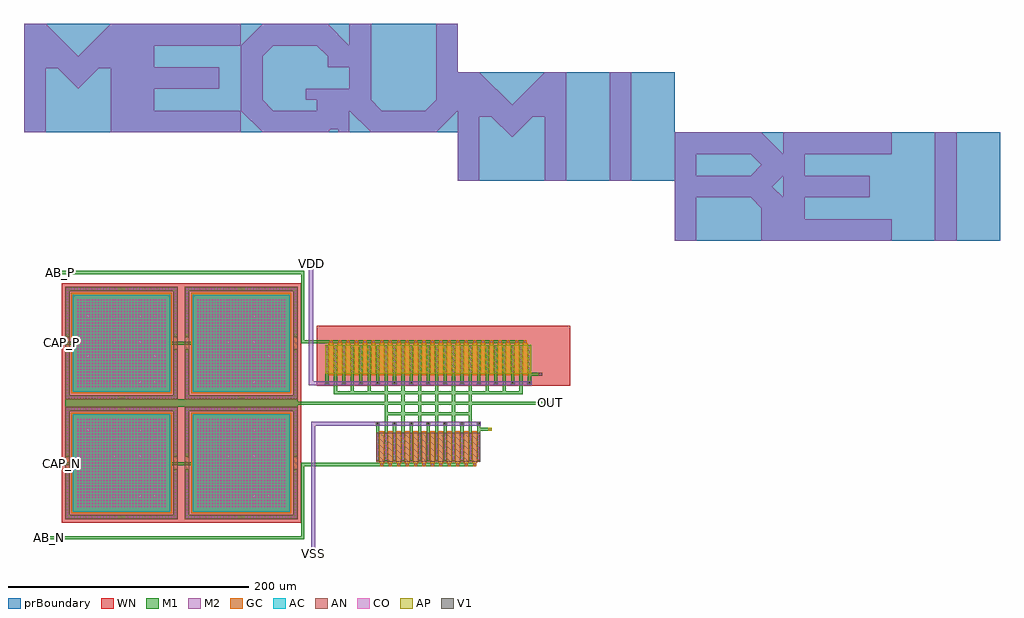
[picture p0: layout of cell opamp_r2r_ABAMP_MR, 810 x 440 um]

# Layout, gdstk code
from math import pi, radians
import gdstk
lib = gdstk.Library(unit=1e-6, precision=1e-07)
def R(c, l, rs):  # rectangles x0, y0, x1, y1
    for r in rs: c.add(gdstk.rectangle(r[:2], r[2:], *l))
def A(c, l, x, y, w, h, nx, ny, dx, dy):  # array of equal rectangles
    R(c, l, [(x+i*dx, y+j*dy, x+i*dx+w, y+j*dy+h) for i in range(nx) for j in range(ny)])
def P(c, l, *ps):  # polygons
    for p in ps: c.add(gdstk.Polygon(p, *l))
AP = (3, 1)
AN = (3, 2)
AC = (3, 4)
GC = (8, 1)
CO = (11, 0)
M1 = (13, 0)
V1 = (19, 0)
M2 = (20, 0)
WN = (140, 0)
prBoundary = (235, 0)

moscap = lib.new_cell('moscap')
P(moscap, AN, [(-46.7,-46.7),(-46.7,43.1),(-43.1,43.1),(-43.1,-43.1),(43.1,-43.1),(43.1,43.1),(-46.7,43.1),(-46.7,46.7),(46.7,46.7),(46.7,-46.7)])
R(moscap, AC, [(-40.3,-40.3,40.3,40.3)])
R(moscap, GC, [(-41.7,-41.7,41.7,41.7)])
A(moscap, CO, -45.5, -45.5, 1.2, 1.2, 1, 18, 0, 2.4)
A(moscap, CO, -45.5, -45.5, 1.2, 1.2, 16, 2, 2.4, 89.8)
A(moscap, CO, 8.3, -45.5, 1.2, 1.2, 16, 2, 2.4, 89.8)
A(moscap, CO, 44.3, -45.5, 1.2, 1.2, 1, 18, 0, 2.4)
A(moscap, CO, -36.6, -36.6, 1.2, 1.2, 31, 31, 2.4, 2.4)
A(moscap, CO, -45.5, 3.5, 1.2, 1.2, 1, 18, 0, 2.4)
A(moscap, CO, 44.3, 3.5, 1.2, 1.2, 1, 18, 0, 2.4)
R(moscap, M1, [(-40.3,-40.3,40.3,40.3)])
P(moscap, M1, [(-46.7,-46.7),(-46.7,46.7),(-5,46.7),(-5,43.1),(-43.1,43.1),(-43.1,-43.1),(-5,-43.1),(-5,-46.7)],
  [(5,-46.7),(5,-43.1),(43.1,-43.1),(43.1,43.1),(5,43.1),(5,46.7),(46.7,46.7),(46.7,-46.7)])
R(moscap, WN, [(-49.7,-49.7,49.7,49.7)])

via_1 = lib.new_cell('via_1')
R(via_1, M1, [(-1.7,-1.7,1.7,1.7)])
R(via_1, V1, [(-0.7,-0.7,0.7,0.7)])
R(via_1, M2, [(-1.7,-1.7,1.7,1.7)])

cont_g = lib.new_cell('cont_g')
R(cont_g, GC, [(-1.3,-1.3,1.3,1.3)])
R(cont_g, CO, [(-0.5,-0.5,0.5,0.5)])
R(cont_g, M1, [(-1.3,-1.3,1.3,1.3)])

fet_p = lib.new_cell('fet_p')
R(fet_p, AP, [(-85.3,-12,85.3,12)])
A(fet_p, CO, -84.5, -10.5, 1, 1, 25, 11, 7, 2)
A(fet_p, M1, -85.3, -11.3, 2.6, 22.6, 25, 1, 7, 0)
fet_p.add(gdstk.FlexPath([(3.5,-13.2),(3.5,13.2)], 4, ends="flush", simple_path=True, layer=8, datatype=1))  # GC
fet_p.add(gdstk.FlexPath([(-3.5,-13.2),(-3.5,13.2)], 4, ends="flush", simple_path=True, layer=8, datatype=1))  # GC
fet_p.add(gdstk.FlexPath([(10.5,-13.2),(10.5,13.2)], 4, ends="flush", simple_path=True, layer=8, datatype=1))  # GC
fet_p.add(gdstk.FlexPath([(-10.5,-13.2),(-10.5,13.2)], 4, ends="flush", simple_path=True, layer=8, datatype=1))  # GC
fet_p.add(gdstk.FlexPath([(17.5,-13.2),(17.5,13.2)], 4, ends="flush", simple_path=True, layer=8, datatype=1))  # GC
fet_p.add(gdstk.FlexPath([(-17.5,-13.2),(-17.5,13.2)], 4, ends="flush", simple_path=True, layer=8, datatype=1))  # GC
fet_p.add(gdstk.FlexPath([(24.5,-13.2),(24.5,13.2)], 4, ends="flush", simple_path=True, layer=8, datatype=1))  # GC
fet_p.add(gdstk.FlexPath([(-24.5,-13.2),(-24.5,13.2)], 4, ends="flush", simple_path=True, layer=8, datatype=1))  # GC
fet_p.add(gdstk.FlexPath([(31.5,-13.2),(31.5,13.2)], 4, ends="flush", simple_path=True, layer=8, datatype=1))  # GC
fet_p.add(gdstk.FlexPath([(-31.5,-13.2),(-31.5,13.2)], 4, ends="flush", simple_path=True, layer=8, datatype=1))  # GC
fet_p.add(gdstk.FlexPath([(38.5,-13.2),(38.5,13.2)], 4, ends="flush", simple_path=True, layer=8, datatype=1))  # GC
fet_p.add(gdstk.FlexPath([(-38.5,-13.2),(-38.5,13.2)], 4, ends="flush", simple_path=True, layer=8, datatype=1))  # GC
fet_p.add(gdstk.FlexPath([(45.5,-13.2),(45.5,13.2)], 4, ends="flush", simple_path=True, layer=8, datatype=1))  # GC
fet_p.add(gdstk.FlexPath([(-45.5,-13.2),(-45.5,13.2)], 4, ends="flush", simple_path=True, layer=8, datatype=1))  # GC
fet_p.add(gdstk.FlexPath([(52.5,-13.2),(52.5,13.2)], 4, ends="flush", simple_path=True, layer=8, datatype=1))  # GC
fet_p.add(gdstk.FlexPath([(-52.5,-13.2),(-52.5,13.2)], 4, ends="flush", simple_path=True, layer=8, datatype=1))  # GC
fet_p.add(gdstk.FlexPath([(59.5,-13.2),(59.5,13.2)], 4, ends="flush", simple_path=True, layer=8, datatype=1))  # GC
fet_p.add(gdstk.FlexPath([(-59.5,-13.2),(-59.5,13.2)], 4, ends="flush", simple_path=True, layer=8, datatype=1))  # GC
fet_p.add(gdstk.FlexPath([(66.5,-13.2),(66.5,13.2)], 4, ends="flush", simple_path=True, layer=8, datatype=1))  # GC
fet_p.add(gdstk.FlexPath([(-66.5,-13.2),(-66.5,13.2)], 4, ends="flush", simple_path=True, layer=8, datatype=1))  # GC
fet_p.add(gdstk.FlexPath([(73.5,-13.2),(73.5,13.2)], 4, ends="flush", simple_path=True, layer=8, datatype=1))  # GC
fet_p.add(gdstk.FlexPath([(-73.5,-13.2),(-73.5,13.2)], 4, ends="flush", simple_path=True, layer=8, datatype=1))  # GC
fet_p.add(gdstk.FlexPath([(80.5,-13.2),(80.5,13.2)], 4, ends="flush", simple_path=True, layer=8, datatype=1))  # GC
fet_p.add(gdstk.FlexPath([(-80.5,-13.2),(-80.5,13.2)], 4, ends="flush", simple_path=True, layer=8, datatype=1))  # GC

fet_n = lib.new_cell('fet_n')
R(fet_n, AN, [(-43.3,-12,43.3,12)])
A(fet_n, CO, -42.5, -10.5, 1, 1, 13, 11, 7, 2)
A(fet_n, M1, -43.3, -11.3, 2.6, 22.6, 13, 1, 7, 0)
fet_n.add(gdstk.FlexPath([(3.5,-13.2),(3.5,13.2)], 4, ends="flush", simple_path=True, layer=8, datatype=1))  # GC
fet_n.add(gdstk.FlexPath([(-3.5,-13.2),(-3.5,13.2)], 4, ends="flush", simple_path=True, layer=8, datatype=1))  # GC
fet_n.add(gdstk.FlexPath([(10.5,-13.2),(10.5,13.2)], 4, ends="flush", simple_path=True, layer=8, datatype=1))  # GC
fet_n.add(gdstk.FlexPath([(-10.5,-13.2),(-10.5,13.2)], 4, ends="flush", simple_path=True, layer=8, datatype=1))  # GC
fet_n.add(gdstk.FlexPath([(17.5,-13.2),(17.5,13.2)], 4, ends="flush", simple_path=True, layer=8, datatype=1))  # GC
fet_n.add(gdstk.FlexPath([(-17.5,-13.2),(-17.5,13.2)], 4, ends="flush", simple_path=True, layer=8, datatype=1))  # GC
fet_n.add(gdstk.FlexPath([(24.5,-13.2),(24.5,13.2)], 4, ends="flush", simple_path=True, layer=8, datatype=1))  # GC
fet_n.add(gdstk.FlexPath([(-24.5,-13.2),(-24.5,13.2)], 4, ends="flush", simple_path=True, layer=8, datatype=1))  # GC
fet_n.add(gdstk.FlexPath([(31.5,-13.2),(31.5,13.2)], 4, ends="flush", simple_path=True, layer=8, datatype=1))  # GC
fet_n.add(gdstk.FlexPath([(-31.5,-13.2),(-31.5,13.2)], 4, ends="flush", simple_path=True, layer=8, datatype=1))  # GC
fet_n.add(gdstk.FlexPath([(38.5,-13.2),(38.5,13.2)], 4, ends="flush", simple_path=True, layer=8, datatype=1))  # GC
fet_n.add(gdstk.FlexPath([(-38.5,-13.2),(-38.5,13.2)], 4, ends="flush", simple_path=True, layer=8, datatype=1))  # GC

cont_n = lib.new_cell('cont_n')
R(cont_n, AN, [(-1.3,-1.3,1.3,1.3)])
R(cont_n, CO, [(-0.5,-0.5,0.5,0.5)])
R(cont_n, M1, [(-1.3,-1.3,1.3,1.3)])

cont_p = lib.new_cell('cont_p')
R(cont_p, AP, [(-1.3,-1.3,1.3,1.3)])
R(cont_p, CO, [(-0.5,-0.5,0.5,0.5)])
R(cont_p, M1, [(-1.3,-1.3,1.3,1.3)])

c_m = lib.new_cell('M')
P(c_m, M2, [(0,0),(0,30),(6,30),(15,21),(24,30),(30,30),(30,0),(24,0),(24,17.7),(20.7,17.7),(15,12),(9.3,17.7),(6,17.7),(6,0)])
R(c_m, prBoundary, [(0,0,30,30)])

c_e = lib.new_cell('E')
P(c_e, M2, [(0,0),(0,30),(30,30),(30,24),(6,24),(6,18),(24,18),(24,12),(6,12),(6,6),(30,6),(30,0)])
R(c_e, prBoundary, [(0,0,30,30)])

c_g = lib.new_cell('G')
P(c_g, M2, [(6,0),(0,6),(0,24),(6,30),(24,30),(30,24),(30,18),(24,18),(24,21),(21,24),(9,24),(6,21),(6,9),(9,6),(21,6),(21,9),(18,9),(18,12),(30,12),(30,0),(27,0),(27,0.9),(24.9,0.9),(24,0)])
R(c_g, prBoundary, [(0,0,30,30)])

c_u = lib.new_cell('U')
P(c_u, M2, [(6,0),(0,6),(0,30),(6,30),(6,9),(9,6),(21,6),(24,9),(24,30),(30,30),(30,6),(24,0)])
R(c_u, prBoundary, [(0,0,30,30)])

c_i = lib.new_cell('I')
R(c_i, M2, [(12,0,18,30)])
R(c_i, prBoundary, [(0,0,30,30)])

c_r = lib.new_cell('R')
P(c_r, M2, [(0,0),(0,30),(24,30),(30,24),(30,18),(27,15),(30,12),(30,0),(24,0),(24,9),(21,12),(6,12),(6,18),(21,18),(24,21),(21,24),(6,24),(6,0)])
R(c_r, prBoundary, [(0,0,30,30)])

opamp_r2r_abamp_mr = lib.new_cell('opamp_r2r_ABAMP_MR')
R(opamp_r2r_abamp_mr, WN, [(-2780157.1,-85110.5,-2779946.6,-85060.4)])
opamp_r2r_abamp_mr.add(gdstk.FlexPath([(-2780100.8,-85133.4),(-2780028.2,-85133.4)], 2.6, ends="flush", simple_path=True, layer=13, datatype=0))  # M1
opamp_r2r_abamp_mr.add(gdstk.FlexPath([(-2780175,-85124.7),(-2779960,-85124.7)], 2.6, ends="flush", simple_path=True, layer=13, datatype=0))  # M1
opamp_r2r_abamp_mr.add(gdstk.FlexPath([(-2779982.7,-85073.7),(-2780146.3,-85073.7)], 2.6, ends="flush", simple_path=True, layer=13, datatype=0))  # M1
opamp_r2r_abamp_mr.add(gdstk.FlexPath([(-2779986.2,-85116),(-2780142.8,-85116)], 2.6, ends="flush", simple_path=True, layer=13, datatype=0))  # M1
opamp_r2r_abamp_mr.add(gdstk.FlexPath([(-2780141.5,-85099.5),(-2780141.5,-85116)], 2.6, ends="flush", simple_path=True, layer=13, datatype=0))  # M1
opamp_r2r_abamp_mr.add(gdstk.FlexPath([(-2780127.5,-85099.5),(-2780127.5,-85116)], 2.6, ends="flush", simple_path=True, layer=13, datatype=0))  # M1
opamp_r2r_abamp_mr.add(gdstk.FlexPath([(-2780113.5,-85099.5),(-2780113.5,-85116)], 2.6, ends="flush", simple_path=True, layer=13, datatype=0))  # M1
opamp_r2r_abamp_mr.add(gdstk.FlexPath([(-2780099.5,-85099.5),(-2780099.5,-85116)], 2.6, ends="flush", simple_path=True, layer=13, datatype=0))  # M1
opamp_r2r_abamp_mr.add(gdstk.FlexPath([(-2780085.5,-85099.5),(-2780085.5,-85116)], 2.6, ends="flush", simple_path=True, layer=13, datatype=0))  # M1
opamp_r2r_abamp_mr.add(gdstk.FlexPath([(-2780071.5,-85099.5),(-2780071.5,-85116)], 2.6, ends="flush", simple_path=True, layer=13, datatype=0))  # M1
opamp_r2r_abamp_mr.add(gdstk.FlexPath([(-2780057.5,-85099.5),(-2780057.5,-85116)], 2.6, ends="flush", simple_path=True, layer=13, datatype=0))  # M1
opamp_r2r_abamp_mr.add(gdstk.FlexPath([(-2780043.5,-85099.5),(-2780043.5,-85116)], 2.6, ends="flush", simple_path=True, layer=13, datatype=0))  # M1
opamp_r2r_abamp_mr.add(gdstk.FlexPath([(-2780029.5,-85099.5),(-2780029.5,-85116)], 2.6, ends="flush", simple_path=True, layer=13, datatype=0))  # M1
opamp_r2r_abamp_mr.add(gdstk.FlexPath([(-2780015.5,-85099.5),(-2780015.5,-85116)], 2.6, ends="flush", simple_path=True, layer=13, datatype=0))  # M1
opamp_r2r_abamp_mr.add(gdstk.FlexPath([(-2780001.5,-85099.5),(-2780001.5,-85116)], 2.6, ends="flush", simple_path=True, layer=13, datatype=0))  # M1
opamp_r2r_abamp_mr.add(gdstk.FlexPath([(-2779987.5,-85099.5),(-2779987.5,-85116)], 2.6, ends="flush", simple_path=True, layer=13, datatype=0))  # M1
opamp_r2r_abamp_mr.add(gdstk.FlexPath([(-2780148.5,-85099.5),(-2780148.5,-85108.1)], 2.6, ends="flush", simple_path=True, layer=13, datatype=0))  # M1
opamp_r2r_abamp_mr.add(gdstk.FlexPath([(-2780134.5,-85099.5),(-2780134.5,-85108.1)], 2.6, ends="flush", simple_path=True, layer=13, datatype=0))  # M1
opamp_r2r_abamp_mr.add(gdstk.FlexPath([(-2780120.5,-85099.5),(-2780120.5,-85108.1)], 2.6, ends="flush", simple_path=True, layer=13, datatype=0))  # M1
opamp_r2r_abamp_mr.add(gdstk.FlexPath([(-2780106.5,-85099.5),(-2780106.5,-85108.1)], 2.6, ends="flush", simple_path=True, layer=13, datatype=0))  # M1
opamp_r2r_abamp_mr.add(gdstk.FlexPath([(-2780092.5,-85099.5),(-2780092.5,-85108.1)], 2.6, ends="flush", simple_path=True, layer=13, datatype=0))  # M1
opamp_r2r_abamp_mr.add(gdstk.FlexPath([(-2780078.5,-85099.5),(-2780078.5,-85108.1)], 2.6, ends="flush", simple_path=True, layer=13, datatype=0))  # M1
opamp_r2r_abamp_mr.add(gdstk.FlexPath([(-2780064.5,-85099.5),(-2780064.5,-85108.1)], 2.6, ends="flush", simple_path=True, layer=13, datatype=0))  # M1
opamp_r2r_abamp_mr.add(gdstk.FlexPath([(-2780050.5,-85099.5),(-2780050.5,-85108.1)], 2.6, ends="flush", simple_path=True, layer=13, datatype=0))  # M1
opamp_r2r_abamp_mr.add(gdstk.FlexPath([(-2780036.5,-85099.5),(-2780036.5,-85108.1)], 2.6, ends="flush", simple_path=True, layer=13, datatype=0))  # M1
opamp_r2r_abamp_mr.add(gdstk.FlexPath([(-2780022.5,-85099.5),(-2780022.5,-85108.1)], 2.6, ends="flush", simple_path=True, layer=13, datatype=0))  # M1
opamp_r2r_abamp_mr.add(gdstk.FlexPath([(-2780008.5,-85099.5),(-2780008.5,-85108.1)], 2.6, ends="flush", simple_path=True, layer=13, datatype=0))  # M1
opamp_r2r_abamp_mr.add(gdstk.FlexPath([(-2779994.5,-85099.5),(-2779994.5,-85108.1)], 2.6, ends="flush", simple_path=True, layer=13, datatype=0))  # M1
opamp_r2r_abamp_mr.add(gdstk.FlexPath([(-2779980.5,-85099.5),(-2779980.5,-85108.1)], 2.6, ends="flush", simple_path=True, layer=13, datatype=0))  # M1
opamp_r2r_abamp_mr.add(gdstk.FlexPath([(-2780104.3,-85175.7),(-2780024.7,-85175.7)], 2.6, ends="flush", simple_path=True, layer=13, datatype=0))  # M1
opamp_r2r_abamp_mr.add(gdstk.FlexPath([(-2780099.5,-85133.4),(-2780099.5,-85149.9)], 2.6, ends="flush", simple_path=True, layer=13, datatype=0))  # M1
opamp_r2r_abamp_mr.add(gdstk.FlexPath([(-2780085.5,-85133.4),(-2780085.5,-85149.9)], 2.6, ends="flush", simple_path=True, layer=13, datatype=0))  # M1
opamp_r2r_abamp_mr.add(gdstk.FlexPath([(-2780071.5,-85133.4),(-2780071.5,-85149.9)], 2.6, ends="flush", simple_path=True, layer=13, datatype=0))  # M1
opamp_r2r_abamp_mr.add(gdstk.FlexPath([(-2780057.5,-85133.4),(-2780057.5,-85149.9)], 2.6, ends="flush", simple_path=True, layer=13, datatype=0))  # M1
opamp_r2r_abamp_mr.add(gdstk.FlexPath([(-2780043.5,-85133.4),(-2780043.5,-85149.9)], 2.6, ends="flush", simple_path=True, layer=13, datatype=0))  # M1
opamp_r2r_abamp_mr.add(gdstk.FlexPath([(-2780029.5,-85133.4),(-2780029.5,-85149.9)], 2.6, ends="flush", simple_path=True, layer=13, datatype=0))  # M1
opamp_r2r_abamp_mr.add(gdstk.FlexPath([(-2780022.5,-85149.9),(-2780022.5,-85141.7)], 2.6, ends="flush", simple_path=True, layer=13, datatype=0))  # M1
opamp_r2r_abamp_mr.add(gdstk.FlexPath([(-2780036.5,-85149.9),(-2780036.5,-85141.7)], 2.6, ends="flush", simple_path=True, layer=13, datatype=0))  # M1
opamp_r2r_abamp_mr.add(gdstk.FlexPath([(-2780050.5,-85149.9),(-2780050.5,-85141.7)], 2.6, ends="flush", simple_path=True, layer=13, datatype=0))  # M1
opamp_r2r_abamp_mr.add(gdstk.FlexPath([(-2780064.5,-85149.9),(-2780064.5,-85141.7)], 2.6, ends="flush", simple_path=True, layer=13, datatype=0))  # M1
opamp_r2r_abamp_mr.add(gdstk.FlexPath([(-2780078.5,-85149.9),(-2780078.5,-85141.7)], 2.6, ends="flush", simple_path=True, layer=13, datatype=0))  # M1
opamp_r2r_abamp_mr.add(gdstk.FlexPath([(-2780092.5,-85149.9),(-2780092.5,-85141.7)], 2.6, ends="flush", simple_path=True, layer=13, datatype=0))  # M1
opamp_r2r_abamp_mr.add(gdstk.FlexPath([(-2780106.5,-85149.9),(-2780106.5,-85141.7)], 2.6, ends="flush", simple_path=True, layer=13, datatype=0))  # M1
opamp_r2r_abamp_mr.add(gdstk.FlexPath([(-2780099.5,-85116),(-2780099.5,-85133.4)], 2.6, ends="flush", simple_path=True, layer=13, datatype=0))  # M1
opamp_r2r_abamp_mr.add(gdstk.FlexPath([(-2780085.5,-85116),(-2780085.5,-85133.4)], 2.6, ends="flush", simple_path=True, layer=13, datatype=0))  # M1
opamp_r2r_abamp_mr.add(gdstk.FlexPath([(-2780071.5,-85116),(-2780071.5,-85133.4)], 2.6, ends="flush", simple_path=True, layer=13, datatype=0))  # M1
opamp_r2r_abamp_mr.add(gdstk.FlexPath([(-2780057.5,-85116),(-2780057.5,-85133.4)], 2.6, ends="flush", simple_path=True, layer=13, datatype=0))  # M1
opamp_r2r_abamp_mr.add(gdstk.FlexPath([(-2780043.5,-85116),(-2780043.5,-85133.4)], 2.6, ends="flush", simple_path=True, layer=13, datatype=0))  # M1
opamp_r2r_abamp_mr.add(gdstk.FlexPath([(-2780029.5,-85116),(-2780029.5,-85133.4)], 2.6, ends="flush", simple_path=True, layer=13, datatype=0))  # M1
opamp_r2r_abamp_mr.add(gdstk.FlexPath([(-2779970,-85100.8),(-2779979.2,-85100.8)], 2.6, ends="flush", simple_path=True, layer=13, datatype=0))  # M1
opamp_r2r_abamp_mr.add(gdstk.FlexPath([(-2780146.3,-85073.7),(-2780168.7,-85073.7),(-2780168.7,-85016.3),(-2780370.1,-85016.3)], 2.6, ends="flush", simple_path=True, layer=13, datatype=0))  # M1
opamp_r2r_abamp_mr.add(gdstk.FlexPath([(-2780104.3,-85175.7),(-2780168.7,-85175.7),(-2780168.7,-85236.3),(-2780380,-85236.3)], 2.6, ends="flush", simple_path=True, layer=13, datatype=0))  # M1
opamp_r2r_abamp_mr.add(gdstk.FlexPath([(-2780179.4,-85075),(-2780370,-85075)], 2.6, ends="flush", simple_path=True, layer=13, datatype=0))  # M1
opamp_r2r_abamp_mr.add(gdstk.FlexPath([(-2780179.4,-85175),(-2780370,-85175)], 2.6, ends="flush", simple_path=True, layer=13, datatype=0))  # M1
opamp_r2r_abamp_mr.add(gdstk.FlexPath([(-2780173,-85124.7),(-2780365.8,-85124.7)], 6, ends="flush", simple_path=True, layer=13, datatype=0))  # M1
opamp_r2r_abamp_mr.add(gdstk.FlexPath([(-2780021.2,-85146.5),(-2780012,-85146.5)], 2.6, ends="flush", simple_path=True, layer=13, datatype=0))  # M1
opamp_r2r_abamp_mr.add(gdstk.FlexPath([(-2779978.8,-85108.1),(-2780150.2,-85108.1)], 3.4, ends="flush", simple_path=True, layer=20, datatype=0))  # M2
opamp_r2r_abamp_mr.add(gdstk.FlexPath([(-2780108.2,-85141.7),(-2780020.8,-85141.7)], 3.4, ends="flush", simple_path=True, layer=20, datatype=0))  # M2
opamp_r2r_abamp_mr.add(gdstk.FlexPath([(-2780150.2,-85108.1),(-2780161.8,-85108.1),(-2780161.8,-85007)], 3.4, ends="flush", simple_path=True, layer=20, datatype=0))  # M2
opamp_r2r_abamp_mr.add(gdstk.FlexPath([(-2780108.2,-85141.7),(-2780160,-85141.7),(-2780160,-85250)], 3.4, ends="flush", simple_path=True, layer=20, datatype=0))  # M2
opamp_r2r_abamp_mr.add(gdstk.Reference(moscap, (-2780219.7,-85174.4), rotation=3*pi/2))
opamp_r2r_abamp_mr.add(gdstk.Reference(moscap, (-2780319.1,-85174.4), rotation=3*pi/2))
opamp_r2r_abamp_mr.add(gdstk.Reference(moscap, (-2780219.7,-85075), rotation=3*pi/2))
opamp_r2r_abamp_mr.add(gdstk.Reference(moscap, (-2780319.1,-85075), rotation=3*pi/2))
opamp_r2r_abamp_mr.add(gdstk.Reference(via_1, (-2780148.5,-85108.1)))
opamp_r2r_abamp_mr.add(gdstk.Reference(via_1, (-2780134.5,-85108.1)))
opamp_r2r_abamp_mr.add(gdstk.Reference(via_1, (-2780120.5,-85108.1)))
opamp_r2r_abamp_mr.add(gdstk.Reference(via_1, (-2780106.5,-85108.1)))
opamp_r2r_abamp_mr.add(gdstk.Reference(via_1, (-2780092.5,-85108.1)))
opamp_r2r_abamp_mr.add(gdstk.Reference(via_1, (-2780078.5,-85108.1)))
opamp_r2r_abamp_mr.add(gdstk.Reference(via_1, (-2780064.5,-85108.1)))
opamp_r2r_abamp_mr.add(gdstk.Reference(via_1, (-2780050.5,-85108.1)))
opamp_r2r_abamp_mr.add(gdstk.Reference(via_1, (-2780036.5,-85108.1)))
opamp_r2r_abamp_mr.add(gdstk.Reference(via_1, (-2780022.5,-85108.1)))
opamp_r2r_abamp_mr.add(gdstk.Reference(via_1, (-2780008.5,-85108.1)))
opamp_r2r_abamp_mr.add(gdstk.Reference(via_1, (-2779994.5,-85108.1)))
opamp_r2r_abamp_mr.add(gdstk.Reference(via_1, (-2779980.5,-85108.1)))
opamp_r2r_abamp_mr.add(gdstk.Reference(cont_g, (-2780145,-85073.7)))
opamp_r2r_abamp_mr.add(gdstk.Reference(cont_g, (-2780138,-85073.7)))
opamp_r2r_abamp_mr.add(gdstk.Reference(cont_g, (-2780131,-85073.7)))
opamp_r2r_abamp_mr.add(gdstk.Reference(cont_g, (-2780124,-85073.7)))
opamp_r2r_abamp_mr.add(gdstk.Reference(cont_g, (-2780117,-85073.7)))
opamp_r2r_abamp_mr.add(gdstk.Reference(cont_g, (-2780110,-85073.7)))
opamp_r2r_abamp_mr.add(gdstk.Reference(cont_g, (-2780103,-85073.7)))
opamp_r2r_abamp_mr.add(gdstk.Reference(cont_g, (-2780096,-85073.7)))
opamp_r2r_abamp_mr.add(gdstk.Reference(cont_g, (-2780089,-85073.7)))
opamp_r2r_abamp_mr.add(gdstk.Reference(cont_g, (-2780082,-85073.7)))
opamp_r2r_abamp_mr.add(gdstk.Reference(cont_g, (-2780075,-85073.7)))
opamp_r2r_abamp_mr.add(gdstk.Reference(cont_g, (-2780068,-85073.7)))
opamp_r2r_abamp_mr.add(gdstk.Reference(cont_g, (-2780061,-85073.7)))
opamp_r2r_abamp_mr.add(gdstk.Reference(cont_g, (-2780054,-85073.7)))
opamp_r2r_abamp_mr.add(gdstk.Reference(cont_g, (-2780047,-85073.7)))
opamp_r2r_abamp_mr.add(gdstk.Reference(cont_g, (-2780040,-85073.7)))
opamp_r2r_abamp_mr.add(gdstk.Reference(cont_g, (-2780033,-85073.7)))
opamp_r2r_abamp_mr.add(gdstk.Reference(cont_g, (-2780026,-85073.7)))
opamp_r2r_abamp_mr.add(gdstk.Reference(cont_g, (-2780019,-85073.7)))
opamp_r2r_abamp_mr.add(gdstk.Reference(cont_g, (-2780012,-85073.7)))
opamp_r2r_abamp_mr.add(gdstk.Reference(cont_g, (-2780005,-85073.7)))
opamp_r2r_abamp_mr.add(gdstk.Reference(cont_g, (-2779998,-85073.7)))
opamp_r2r_abamp_mr.add(gdstk.Reference(cont_g, (-2779991,-85073.7)))
opamp_r2r_abamp_mr.add(gdstk.Reference(cont_g, (-2779984,-85073.7)))
opamp_r2r_abamp_mr.add(gdstk.Reference(fet_p, (-2780064.5,-85088.2), rotation=pi))
opamp_r2r_abamp_mr.add(gdstk.Reference(via_1, (-2780022.5,-85141.7), rotation=pi))
opamp_r2r_abamp_mr.add(gdstk.Reference(via_1, (-2780036.5,-85141.7), rotation=pi))
opamp_r2r_abamp_mr.add(gdstk.Reference(via_1, (-2780050.5,-85141.7), rotation=pi))
opamp_r2r_abamp_mr.add(gdstk.Reference(via_1, (-2780064.5,-85141.7), rotation=pi))
opamp_r2r_abamp_mr.add(gdstk.Reference(via_1, (-2780078.5,-85141.7), rotation=pi))
opamp_r2r_abamp_mr.add(gdstk.Reference(via_1, (-2780092.5,-85141.7), rotation=pi))
opamp_r2r_abamp_mr.add(gdstk.Reference(via_1, (-2780106.5,-85141.7), rotation=pi))
opamp_r2r_abamp_mr.add(gdstk.Reference(cont_g, (-2780026,-85175.7), rotation=pi))
opamp_r2r_abamp_mr.add(gdstk.Reference(cont_g, (-2780033,-85175.7), rotation=pi))
opamp_r2r_abamp_mr.add(gdstk.Reference(cont_g, (-2780040,-85175.7), rotation=pi))
opamp_r2r_abamp_mr.add(gdstk.Reference(cont_g, (-2780047,-85175.7), rotation=pi))
opamp_r2r_abamp_mr.add(gdstk.Reference(cont_g, (-2780054,-85175.7), rotation=pi))
opamp_r2r_abamp_mr.add(gdstk.Reference(cont_g, (-2780061,-85175.7), rotation=pi))
opamp_r2r_abamp_mr.add(gdstk.Reference(cont_g, (-2780068,-85175.7), rotation=pi))
opamp_r2r_abamp_mr.add(gdstk.Reference(cont_g, (-2780075,-85175.7), rotation=pi))
opamp_r2r_abamp_mr.add(gdstk.Reference(cont_g, (-2780082,-85175.7), rotation=pi))
opamp_r2r_abamp_mr.add(gdstk.Reference(cont_g, (-2780089,-85175.7), rotation=pi))
opamp_r2r_abamp_mr.add(gdstk.Reference(cont_g, (-2780096,-85175.7), rotation=pi))
opamp_r2r_abamp_mr.add(gdstk.Reference(cont_g, (-2780103,-85175.7), rotation=pi))
opamp_r2r_abamp_mr.add(gdstk.Reference(fet_n, (-2780064.5,-85161.2), rotation=pi))
opamp_r2r_abamp_mr.add(gdstk.Reference(cont_n, (-2779971.3,-85100.8), rotation=pi))
opamp_r2r_abamp_mr.add(gdstk.Reference(cont_p, (-2780013.3,-85146.5), rotation=pi))
opamp_r2r_abamp_mr.add(gdstk.Reference(c_m, (-2780400,-84900), magnification=3))
opamp_r2r_abamp_mr.add(gdstk.Reference(c_e, (-2780310,-84900), magnification=3))
opamp_r2r_abamp_mr.add(gdstk.Reference(c_g, (-2780220,-84900), magnification=3))
opamp_r2r_abamp_mr.add(gdstk.Reference(c_u, (-2780130,-84900), magnification=3))
opamp_r2r_abamp_mr.add(gdstk.Reference(c_m, (-2780040,-84940), magnification=3))
opamp_r2r_abamp_mr.add(gdstk.Reference(c_i, (-2779950,-84940), magnification=3))
opamp_r2r_abamp_mr.add(gdstk.Reference(c_r, (-2779860,-84990), magnification=3))
opamp_r2r_abamp_mr.add(gdstk.Reference(c_e, (-2779770,-84990), magnification=3))
opamp_r2r_abamp_mr.add(gdstk.Reference(c_i, (-2779680,-84990), magnification=3))
opamp_r2r_abamp_mr.add(gdstk.Label('VDD', (-2780161.4,-85008.8), layer=49, texttype=0))
opamp_r2r_abamp_mr.add(gdstk.Label('VSS', (-2780159.9,-85249.6), layer=49, texttype=0))
opamp_r2r_abamp_mr.add(gdstk.Label('AB_P', (-2780369.7,-85016), layer=48, texttype=0))
opamp_r2r_abamp_mr.add(gdstk.Label('CAP_N', (-2780368.8,-85174.6), layer=48, texttype=0))
opamp_r2r_abamp_mr.add(gdstk.Label('OUT', (-2779963.2,-85124.3), layer=48, texttype=0))
opamp_r2r_abamp_mr.add(gdstk.Label('CAP_P', (-2780368.8,-85074.6), layer=48, texttype=0))
opamp_r2r_abamp_mr.add(gdstk.Label('AB_N', (-2780378.9,-85235.9), layer=48, texttype=0))

lib.write_gds('opamp_r2r_ABAMP_MR.gds')
